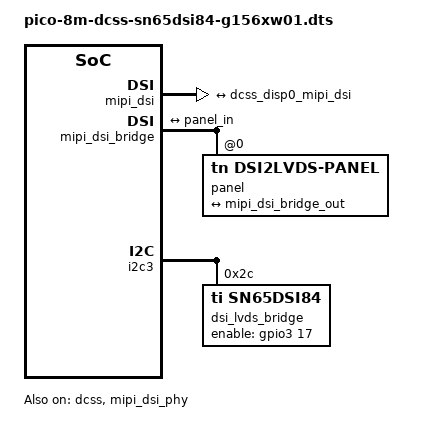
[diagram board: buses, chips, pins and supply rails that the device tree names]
/*
 * Copyright 2018 Technexion Ltd.
 * Copyright 2017 NXP
 *
 * Author: Richard Hu <richard.hu@technexion.com>
 *
 * This program is free software; you can redistribute it and/or
 * modify it under the terms of the GNU General Public License
 * as published by the Free Software Foundation; either version 2
 * of the License, or (at your option) any later version.
 *
 * This program is distributed in the hope that it will be useful,
 * but WITHOUT ANY WARRANTY; without even the implied warranty of
 * MERCHANTABILITY or FITNESS FOR A PARTICULAR PURPOSE.  See the
 * GNU General Public License for more details.
 */

#include "pico-8m.dts"

/ {
	backlight_mipi {
		status = "okay";
	};
};

&hdmi {
	status = "disabled";
};

&dcss {
	status = "okay";
	disp-dev = "mipi_disp";

	clocks = <&clk IMX8MQ_CLK_DISP_APB_ROOT>,
		 <&clk IMX8MQ_CLK_DISP_AXI_ROOT>,
		 <&clk IMX8MQ_CLK_DISP_RTRM_ROOT>,
		 <&clk IMX8MQ_CLK_DC_PIXEL_DIV>,
		 <&clk IMX8MQ_CLK_DUMMY>,
		 <&clk IMX8MQ_CLK_DISP_DTRC_DIV>;
	clock-names = "apb", "axi", "rtrm", "pix_div", "pix_out", "dtrc";

	assigned-clocks = <&clk IMX8MQ_CLK_DC_PIXEL_SRC>,
			  <&clk IMX8MQ_CLK_DISP_AXI_SRC>,
			  <&clk IMX8MQ_CLK_DISP_RTRM_SRC>,
			  <&clk IMX8MQ_CLK_DISP_RTRM_PRE_DIV>,
			  <&clk IMX8MQ_VIDEO_PLL1_REF_SEL>,
			  <&clk IMX8MQ_VIDEO_PLL1>;
	assigned-clock-parents = <&clk IMX8MQ_VIDEO_PLL1_OUT>,
				 <&clk IMX8MQ_SYS1_PLL_800M>,
				 <&clk IMX8MQ_SYS1_PLL_800M>,
				 <&clk IMX8MQ_VIDEO_PLL1_OUT>,
				 <&clk IMX8MQ_CLK_25M>;
	assigned-clock-rates = <600000000>,
			       <800000000>,
			       <400000000>,
			       <400000000>,
			       <0>,
			       <599999999>;

	port@0 {
		reg = <0>;

		dcss_disp0_mipi_dsi: mipi_dsi_endpoint {
			remote-endpoint = <&mipi_dsi_in>;
		};
	};
};

&mipi_dsi_phy {
	status = "okay";
};

&mipi_dsi {
	status = "okay";
	pwr-delay = <10>;
	best-match;

	assigned-clocks = <&clk IMX8MQ_CLK_DSI_PHY_REF_SRC>,
						<&clk IMX8MQ_CLK_DSI_CORE_SRC>,
						<&clk IMX8MQ_VIDEO_PLL1_REF_SEL>,
						<&clk IMX8MQ_VIDEO_PLL1>;
	assigned-clock-parents = <&clk IMX8MQ_VIDEO_PLL1_OUT>,
								<&clk IMX8MQ_SYS1_PLL_266M>,
								<&clk IMX8MQ_CLK_25M>;
	assigned-clock-rates = <24000000>,
							<266000000>,
							<0>,
							<599999999>;

	port@1 {
		mipi_dsi_in: dcss_disp_endpoint {
			remote-endpoint = <&dcss_disp0_mipi_dsi>;
		};
	};
};

&mipi_dsi_bridge {
	status = "okay";

	panel@0 {

#define MIPI_DSI_MODE_VIDEO             0x0001 /* video mode */
#define MIPI_DSI_MODE_VIDEO_BURST       0x0002 /* video burst mode */
#define MIPI_DSI_MODE_VIDEO_SYNC_PULSE  0x0004 /* video pulse mode */
#define MIPI_DSI_MODE_VIDEO_AUTO_VERT   0x0008 /* enable auto vertical count mode */
#define MIPI_DSI_MODE_VIDEO_HSE         0x0010 /* enable hsync-end packets in vsync-pulse and v-porch area */
#define MIPI_DSI_MODE_VIDEO_HFP         0x0020 /* disable hfront-porch area */
#define MIPI_DSI_MODE_VIDEO_HBP         0x0040 /* disable hback-porch area */
#define MIPI_DSI_MODE_VIDEO_HSA         0x0080 /* disable hsync-active area */
#define MIPI_DSI_MODE_VSYNC_FLUSH       0x0100 /* flush display FIFO on vsync pulse */
#define MIPI_DSI_MODE_EOT_PACKET        0x0200 /* disable EoT packets in HS mode */
#define MIPI_DSI_CLOCK_NON_CONTINUOUS   0x0400 /* device supports non-continuous clock behavior (DSI spec 5.6.1) */
#define MIPI_DSI_MODE_LPM               0x0800 /* transmit data in low power */

#define MIPI_DSI_FMT_RGB888             0
#define MIPI_DSI_FMT_RGB666             1
#define MIPI_DSI_FMT_RGB666_PACKED      2
#define MIPI_DSI_FMT_RGB565             3

		reg = <0>;
		/* compatible = "auo,g156xw01"; */
		compatible = "tn,dsi2lvds-panel";
		/* backlight = <&backlight>; */
		/* pinctrl-0 = <&pinctrl_mipi_dsi_rst>; */
		/* enable-gpios = <&gpio3 17 GPIO_ACTIVE_HIGH>; */
		dsi,flags = <0x0007>; /* MIPI_DSI_MODE_VIDEO MIPI_DSI_MODE_VIDEO_BURST MIPI_DSI_MODE_VIDEO_SYNC_PULSE */
		dsi,format = <0>;
		dsi,lanes = <4>;
		panel-width-mm  = <344>;
		panel-height-mm = <193>;
		bus-flags = <1>;
		refresh-rate = <60>;
		rotate = <0>;
		/* horz-flip; */
		/* vert-flip; */

		port {
			panel_in: endpoint {
				remote-endpoint = <&mipi_dsi_bridge_out>;
			};
		};

		display-timings {
			native-mode = <&timing0>;

/*
 * Panel display timings, For example, hsync active high, vsync active low
 * (defined here in device tree for struct display_timing)
 *
 *				    Active Video
 * Video  ___________________________XXXXXXXXXXXXXXXXXXXXXXXX__________________________
 *	  |<- [hv]sync ->|<- [hv]back ->|<----- [hv]active ----->|<- [hv]front ->|<- sync..
 *	  |       len    |       porch  |		                 |       porch   |
 *
 * HSync _|¯¯¯¯¯¯¯¯¯¯|___________________________________________|¯¯¯¯¯¯¯¯¯
 *
 * VSync ¯|__________|¯¯¯¯¯¯¯¯¯¯¯¯¯¯¯¯¯¯¯¯¯¯¯¯¯¯¯¯¯¯¯¯¯¯¯¯¯¯¯¯¯¯¯|_________
 *
 *
 *
 * clock-frequency = <Hz>; clock frequency in Herz
 * [hv]active = <pixels>; active display in pixels
 * [hv]back-porch = <pixels>; back-porch in pixels
 * [hv]front-porch = <pixels>; front-porch in pixels
 * [hv]sync-len = <pixels>; sync length in pixles
 *
 * (optional) Flags to set for display timings,
 *
#define DISPLAY_FLAGS_HSYNC_LOW         0x0001
#define DISPLAY_FLAGS_HSYNC_HIGH        0x0002
#define DISPLAY_FLAGS_VSYNC_LOW         0x0004
#define DISPLAY_FLAGS_VSYNC_HIGH        0x0008
#define DISPLAY_FLAGS_DE_LOW            0x0010
#define DISPLAY_FLAGS_DE_HIGH           0x0020
#define DISPLAY_FLAGS_PIXDATA_POSEDGE   0x0040
#define DISPLAY_FLAGS_PIXDATA_NEGEDGE   0x0080
#define DISPLAY_FLAGS_INTERLACED        0x0100
#define DISPLAY_FLAGS_DOUBLESCAN        0x0200
#define DISPLAY_FLAGS_DOUBLECLK         0x0400
 *
 * vsync-active = <0/1>, i.e. DISPLAY_FLAGS_VSYNC_LOW / DISPLAY_FLAGS_VSYNC_HIGH
 * hsync-active = <0/1>, i.e. DISPLAY_FLAGS_HSYNC_LOW / DISPLAY_FLAGS_HSYNC_HIGH
 * de-active = <0/1>, i.e. DISPLAY_FLAGS_DE_LOW / DISPLAY_FLAGS_DE_HIGH
 * pixelclk-active = <0/1>, i.e. DISPLAY_FLAGS_PIXDATA_NEGEDGE / DISPLAY_FLAGS_PIXDATA_POSEDGE
 * interlaced = True/False, i.e. DISPLAY_FLAGS_INTERLACED
 * doublescan = True/False, i.e. DISPLAY_FLAGS_DOUBLESCAN
 * doubleclk = True/False, i.e. DISPLAY_FLAGS_DOUBLECLK
 *
 * Important Note:
 * The horizontal and vertical display timings are mapped to following DRM_DISPLAY_MODE settings.
 * (the above display timing is mapped to struct drm_display_mode)
 *
 *              Active                 Front           Sync           Back
 *              Region                 Porch           Len            Porch
 *     <-----------------------><----------------><-------------><-------------->
 *       //////////////////////|
 *      ////////////////////// |
 *     //////////////////////  |..................               ................
 *                                                _______________
 *     <----- [hv]display ----->
 *     <------------- [hv]sync_start ------------>
 *     <--------------------- [hv]sync_end --------------------->
 *     <-------------------------------- [hv]total ----------------------------->
 *
 */

			timing0: g156xw01 {
				clock-frequency = <76000000>;
				hactive = <1368>;
				vactive = <768>;
				hfront-porch = <90>;
				hsync-len = <20>;
				hback-porch = <90>;
				vfront-porch = <17>;
				vsync-len = <4>;
				vback-porch = <17>;
				/* flags = DISPLAY_FLAGS_HSYNC_HIGH | DISPLAY_FLAGS_VSYNC_HIGH */
				vsync-active = <1>;
				hsync-active = <1>;
			};
		};
	};

	port@1 {
		mipi_dsi_bridge_out: endpoint {
			remote-endpoint = <&panel_in>;
		};
	};
};

&i2c3 {
	dsi_lvds_bridge: sn65dsi84@2c {
		reg = <0x2c>;
		status = "okay";
		compatible = "ti,sn65dsi84";
		#gpio-cells = <2>;
		enable-gpios = <&gpio3 17 GPIO_ACTIVE_HIGH>; /* <&pinctrl_mipi_dsi_rst>; */
		sn65dsi84,addresses = <0x09 0x0A 0x0B 0x0D
		                       0x10 0x11 0x12 0x13
                               0x18 0x19 0x1A 0x1B
                               0x20 0x21 0x22 0x23
                               0x24 0x25 0x26 0x27
                               0x28 0x29 0x2A 0x2B
                               0x2C 0x2D 0x2E 0x2F
                               0x30 0x31 0x32 0x33
                               0x34 0x35 0x36 0x37
                               0x38 0x39 0x3A 0x3B
                               0x3C 0x3D 0x3E 0x0D>;

		sn65dsi84,values = </* reset and clock registers */
		                    0x00 0x05 0x10 0x00
                            /* DSI registers */
		                    0x26 0x00 0x2d 0x00
		                    /* LVDS registers */
                            0x7a 0x00 0x03 0x00

                            /* video registers */
                            /* cha-al-len-l, cha-al-len-h, chb-al-len-l, chb-al-len-h */
                            0x56 0x05 0x00 0x00
                            /* cha-v-ds-l, cha-v-ds-h, chb-v-ds-l, chb-v-ds-h */
                            0x00 0x00 0x00 0x00
                            /* cha-sdl, cha-sdh, chb-sdl, chb-sdh */
                            0x21 0x00 0x00 0x00
                            /* cha-hs-pwl, cha-hs-pwh, chb-hs-pwl, chb-hs-pwh */
                            0x64 0x00 0x00 0x00
                            /* cha-vs-pwl, cha-vs-pwh, chb-vs-pwl, chb-vs-pwh */
                            0x14 0x00 0x00 0x00
                            /*cha-hbp, chb-hbp, cha-vbp, chb-vbp*/
                            0x2F 0x00 0x00 0x00
                            /* cha-hfp, chb-hfp, cha-vfp, chb-vfp*/
                            0x00 0x00 0x00 0x00

                            0x00 0x00 0x00 0x01>;
	};
};
